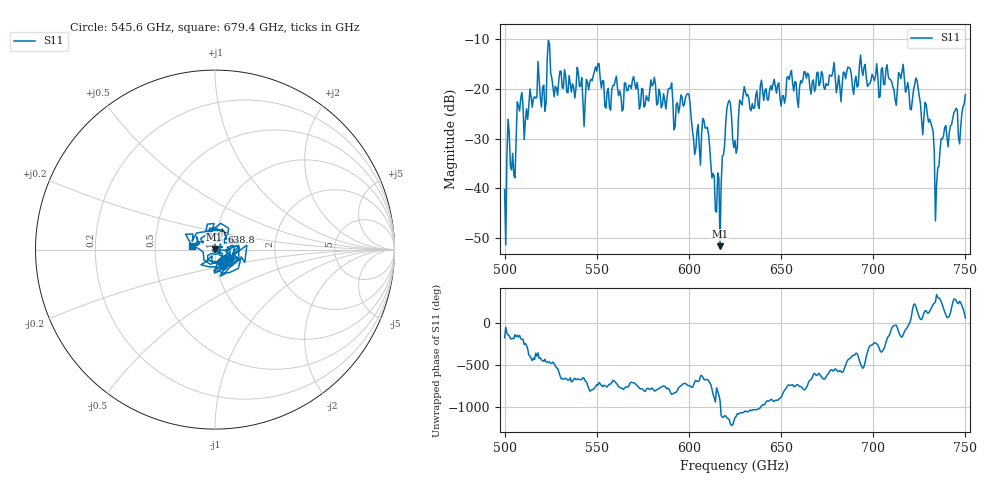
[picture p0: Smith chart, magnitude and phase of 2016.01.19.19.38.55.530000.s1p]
!Created with skrf (http://scikit-rf.org).
# GHz S RI R 50.0
!freq ReS11 ImS11
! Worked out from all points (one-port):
!   401 points, 500 GHz to 750 GHz, reference 50 ohm
!   lowest |S11| = -51.7 dB at 616.9 GHz (marker M1), VSWR 1.01, Z = 49.8 + j0.0998 ohm
!   |S11| at or under -10 dB: start of sweep to end of sweep
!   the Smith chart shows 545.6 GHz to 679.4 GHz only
!   S11 on the Smith chart (normalised r, x): 545.6 GHz: 1.08, -0.19; 638.8 GHz: 1.06, +0.21; 679.4 GHz: 0.77, +0.03
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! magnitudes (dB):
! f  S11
! 500 GHz  -40.3
! 502.5 GHz  -28.8
! 505 GHz  -37.4
! 508.1 GHz  -24.4
! 521.2 GHz  -19.2
! 524.4 GHz  -10.9
! 527.5 GHz  -19.5
! 531.2 GHz  -19.8
! 545.6 GHz  -20.2
! 562.5 GHz  -20.4
! 593.8 GHz  -22.8
! 599.4 GHz  -21.0
! 605 GHz  -27.1
! 608.8 GHz  -27.8
! 613.8 GHz  -37.6
! 616.9 GHz  -51.7
! 621.2 GHz  -22.8
! 625 GHz  -30.4
! 628.8 GHz  -23.2
! 638.8 GHz  -19.4
! 656.2 GHz  -18.8
! 679.4 GHz  -17.8
! 687.5 GHz  -15.9
! 718.8 GHz  -18.7
! 729.4 GHz  -25.2
! 734.4 GHz  -39.2
! 738.1 GHz  -29.5
! 750 GHz  -21.2
